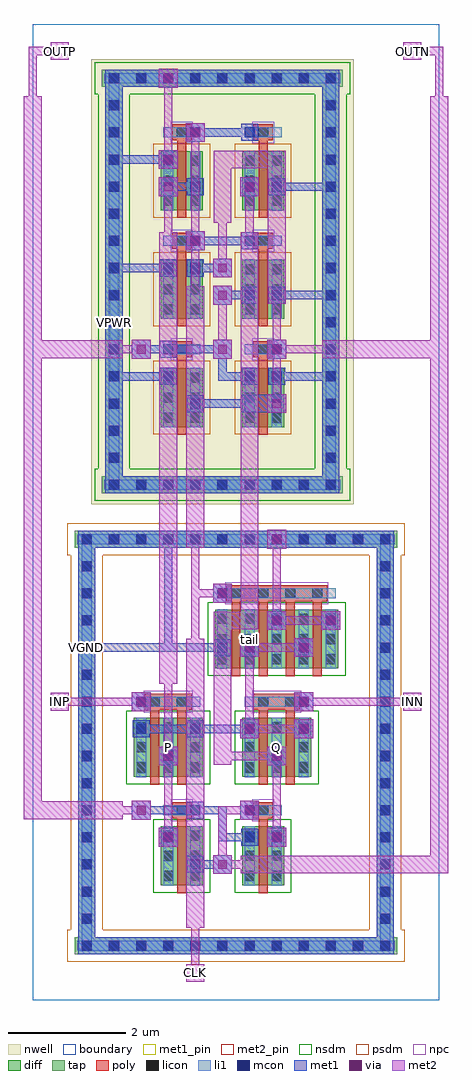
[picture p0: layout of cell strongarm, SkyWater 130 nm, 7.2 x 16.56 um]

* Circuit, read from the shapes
.subckt strongarm CLK INN INP OUTN OUTP P Q VGND VPWR tail
XM1 P INP tail VGND sky130_fd_pr__nfet_01v8 w=1 l=0.15 m=2
XM2 OUTN OUTP P VGND sky130_fd_pr__nfet_01v8 w=1 l=0.15
XM3 tail CLK VGND VGND sky130_fd_pr__nfet_01v8 w=1 l=0.15 m=4
XM4 Q OUTN OUTP VGND sky130_fd_pr__nfet_01v8 w=1 l=0.15
XM5 Q INN tail VGND sky130_fd_pr__nfet_01v8 w=1 l=0.15 m=2
XM6 OUTN OUTP VPWR VPWR sky130_fd_pr__pfet_01v8 w=1 l=0.15
XM7 OUTN CLK VPWR VPWR sky130_fd_pr__pfet_01v8 w=1 l=0.15
XM8 P CLK VPWR VPWR sky130_fd_pr__pfet_01v8 w=1 l=0.15
XM9 VPWR OUTN OUTP VPWR sky130_fd_pr__pfet_01v8 w=1 l=0.15
XM10 VPWR CLK OUTP VPWR sky130_fd_pr__pfet_01v8 w=1 l=0.15
XM11 VPWR CLK Q VPWR sky130_fd_pr__pfet_01v8 w=1 l=0.15
.ends

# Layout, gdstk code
import gdstk
lib = gdstk.Library(unit=1e-6, precision=1e-09)
def R(c, l, rs):  # rectangles x0, y0, x1, y1
    for r in rs: c.add(gdstk.rectangle(r[:2], r[2:], *l))
def A(c, l, x, y, w, h, nx, ny, dx, dy):  # array of equal rectangles
    R(c, l, [(x+i*dx, y+j*dy, x+i*dx+w, y+j*dy+h) for i in range(nx) for j in range(ny)])
nwell = (64, 20)
diff = (65, 20)
tap = (65, 44)
poly = (66, 20)
licon = (66, 44)
li1 = (67, 20)
mcon = (67, 44)
met1_pin = (68, 16)
met1 = (68, 20)
via = (68, 44)
met2_pin = (69, 16)
met2 = (69, 20)
nsdm = (93, 44)
psdm = (94, 20)
npc = (95, 20)
boundary = (235, 4)

strongarm = lib.new_cell('strongarm')
R(strongarm, nwell, [(0.995,8.415,5.445,15.965)])
A(strongarm, diff, 2.175, 9.72, 0.71, 1, 1, 3, 0, 1.84)
A(strongarm, diff, 3.555, 9.72, 0.71, 1, 1, 3, 0, 1.84)
R(strongarm, diff, [(2.175,1.945,2.885,2.945), (3.555,1.945,4.265,2.945), (1.715,3.785,2.885,4.785), (3.555,3.785,4.725,4.785), (3.095,5.625,5.185,6.625)])
R(strongarm, tap, [(0.715,0.775,6.185,1.065), (0.775,0.775,1.065,7.965), (5.835,0.775,6.125,7.965), (0.715,7.675,6.185,7.965), (1.175,8.595,5.265,8.885), (1.235,8.595,1.525,15.785), (4.915,8.595,5.205,15.785), (1.175,15.495,5.265,15.785)])
A(strongarm, poly, 3.375, 5.495, 0.15, 1.405, 4, 1, 0.46, 0)
A(strongarm, poly, 2.455, 9.59, 0.15, 1.45, 1, 3, 0, 1.84)
A(strongarm, poly, 3.835, 9.59, 0.15, 1.45, 1, 3, 0, 1.84)
A(strongarm, poly, 2.365, 10.905, 0.33, 0.27, 1, 3, 0, 1.84)
A(strongarm, poly, 3.745, 10.905, 0.33, 0.27, 1, 3, 0, 1.84)
R(strongarm, poly, [(2.455,1.815,2.605,3.22), (3.835,1.815,3.985,3.22), (2.365,3.085,2.695,3.355), (3.745,3.085,4.075,3.355), (1.995,3.655,2.145,5.06), (2.455,3.655,2.605,5.06), (3.835,3.655,3.985,5.06), (4.295,3.655,4.445,5.06), (1.905,4.925,2.695,5.195), (3.745,4.925,4.535,5.195), (3.285,6.765,4.995,7.035)])
A(strongarm, licon, 0.835, 0.835, 0.17, 0.17, 12, 2, 0.46, 6.9)
A(strongarm, licon, 0.835, 1.295, 0.17, 0.17, 1, 14, 0, 0.46)
A(strongarm, licon, 5.895, 1.295, 0.17, 0.17, 1, 14, 0, 0.46)
A(strongarm, licon, 2.215, 2.02, 0.17, 0.17, 1, 3, 0, 0.34)
A(strongarm, licon, 2.675, 2.02, 0.17, 0.17, 1, 3, 0, 0.34)
A(strongarm, licon, 3.595, 2.02, 0.17, 0.17, 1, 3, 0, 0.34)
A(strongarm, licon, 4.055, 2.02, 0.17, 0.17, 1, 3, 0, 0.34)
A(strongarm, licon, 1.755, 3.86, 0.17, 0.17, 3, 3, 0.46, 0.34)
A(strongarm, licon, 3.595, 3.86, 0.17, 0.17, 3, 3, 0.46, 0.34)
A(strongarm, licon, 3.135, 5.7, 0.17, 0.17, 5, 3, 0.46, 0.34)
A(strongarm, licon, 3.365, 6.815, 0.17, 0.17, 4, 1, 0.46, 0)
A(strongarm, licon, 1.295, 8.655, 0.17, 0.17, 9, 2, 0.46, 6.9)
A(strongarm, licon, 1.295, 9.115, 0.17, 0.17, 1, 14, 0, 0.46)
A(strongarm, licon, 4.975, 9.115, 0.17, 0.17, 1, 14, 0, 0.46)
A(strongarm, licon, 2.215, 9.795, 0.17, 0.17, 1, 3, 0, 0.34)
A(strongarm, licon, 2.675, 9.795, 0.17, 0.17, 1, 3, 0, 0.34)
A(strongarm, licon, 3.595, 9.795, 0.17, 0.17, 1, 3, 0, 0.34)
A(strongarm, licon, 4.055, 9.795, 0.17, 0.17, 1, 3, 0, 0.34)
A(strongarm, licon, 2.445, 10.955, 0.17, 0.17, 1, 3, 0, 1.84)
A(strongarm, licon, 3.825, 10.955, 0.17, 0.17, 1, 3, 0, 1.84)
A(strongarm, licon, 2.215, 11.635, 0.17, 0.17, 1, 3, 0, 0.34)
A(strongarm, licon, 2.675, 11.635, 0.17, 0.17, 1, 3, 0, 0.34)
A(strongarm, licon, 3.595, 11.635, 0.17, 0.17, 1, 3, 0, 0.34)
A(strongarm, licon, 4.055, 11.635, 0.17, 0.17, 1, 3, 0, 0.34)
A(strongarm, licon, 2.215, 13.475, 0.17, 0.17, 1, 3, 0, 0.34)
A(strongarm, licon, 2.675, 13.475, 0.17, 0.17, 1, 3, 0, 0.34)
A(strongarm, licon, 3.595, 13.475, 0.17, 0.17, 1, 3, 0, 0.34)
A(strongarm, licon, 4.055, 13.475, 0.17, 0.17, 1, 3, 0, 0.34)
R(strongarm, licon, [(2.445,3.135,2.615,3.305), (3.825,3.135,3.995,3.305), (1.985,4.975,2.155,5.145), (2.445,4.975,2.615,5.145), (3.825,4.975,3.995,5.145), (4.285,4.975,4.455,5.145)])
A(strongarm, li1, 1.755, 3.78, 0.17, 1.01, 3, 1, 0.46, 0)
A(strongarm, li1, 3.595, 3.78, 0.17, 1.01, 3, 1, 0.46, 0)
A(strongarm, li1, 3.135, 5.62, 0.17, 1.01, 5, 1, 0.46, 0)
A(strongarm, li1, 2.215, 9.715, 0.17, 1.01, 1, 3, 0, 1.84)
A(strongarm, li1, 2.675, 9.715, 0.17, 1.01, 1, 3, 0, 1.84)
A(strongarm, li1, 3.595, 9.715, 0.17, 1.01, 1, 3, 0, 1.84)
A(strongarm, li1, 4.055, 9.715, 0.17, 1.01, 1, 3, 0, 1.84)
A(strongarm, li1, 2.215, 10.955, 0.63, 0.17, 1, 3, 0, 1.84)
A(strongarm, li1, 3.595, 10.955, 0.63, 0.17, 1, 3, 0, 1.84)
R(strongarm, li1, [(0.755,0.835,6.145,1.005), (0.835,0.835,1.005,7.905), (5.895,0.835,6.065,7.905), (2.215,1.94,2.385,2.95), (2.675,1.94,2.845,2.95), (3.595,1.94,3.765,2.95), (4.055,1.94,4.225,2.95), (2.215,3.135,2.845,3.305), (3.595,3.135,4.225,3.305), (1.755,4.975,2.845,5.145), (3.595,4.975,4.685,5.145), (3.135,6.815,5.145,6.985), (0.755,7.735,6.145,7.905), (1.215,8.655,5.225,8.825), (1.295,8.655,1.465,15.725), (4.975,8.655,5.145,15.725), (1.215,15.555,5.225,15.725)])
A(strongarm, mcon, 0.835, 0.835, 0.17, 0.17, 12, 2, 0.46, 6.9)
A(strongarm, mcon, 0.835, 1.295, 0.17, 0.17, 1, 3, 0, 0.46)
A(strongarm, mcon, 5.895, 1.295, 0.17, 0.17, 1, 6, 0, 0.46)
A(strongarm, mcon, 0.835, 2.675, 0.17, 0.17, 3, 1, 1.38, 0)
A(strongarm, mcon, 0.835, 3.135, 0.17, 0.17, 1, 3, 0, 0.46)
A(strongarm, mcon, 2.215, 4.055, 0.17, 0.17, 3, 1, 1.84, 0)
A(strongarm, mcon, 0.835, 4.515, 0.17, 0.17, 5, 1, 0.92, 0)
A(strongarm, mcon, 5.895, 4.515, 0.17, 0.17, 1, 4, 0, 0.46)
A(strongarm, mcon, 0.835, 4.975, 0.17, 0.17, 1, 6, 0, 0.46)
A(strongarm, mcon, 4.055, 6.355, 0.17, 0.17, 3, 1, 0.92, 0)
A(strongarm, mcon, 1.295, 8.655, 0.17, 0.17, 9, 2, 0.46, 6.9)
A(strongarm, mcon, 1.295, 9.115, 0.17, 0.17, 1, 14, 0, 0.46)
A(strongarm, mcon, 4.975, 9.115, 0.17, 0.17, 1, 14, 0, 0.46)
A(strongarm, mcon, 3.595, 11.875, 0.17, 0.17, 1, 4, 0, 0.92)
A(strongarm, mcon, 2.675, 12.795, 0.17, 0.17, 1, 3, 0, 0.92)
R(strongarm, mcon, [(2.675,2.215,2.845,2.385), (4.055,2.675,4.225,2.845), (2.675,3.135,2.845,3.305), (3.595,3.135,3.765,3.305), (1.755,4.975,1.925,5.145), (4.515,4.975,4.685,5.145), (3.135,5.895,3.305,6.065), (3.595,5.895,3.765,6.065), (4.515,5.895,4.685,6.065), (3.135,6.815,3.305,6.985), (5.895,6.815,6.065,6.985), (5.895,7.275,6.065,7.445), (2.675,10.035,2.845,10.205), (2.215,10.495,2.385,10.665), (3.595,10.495,3.765,10.665), (4.055,10.495,4.225,10.665), (2.215,10.955,2.385,11.125), (4.055,10.955,4.225,11.125), (4.055,11.875,4.225,12.045), (2.215,12.335,2.385,12.505), (2.675,12.335,2.845,12.505), (4.055,13.715,4.225,13.885), (2.215,14.175,2.385,14.345)])
R(strongarm, met1_pin, [(0.85,5.91,0.99,6.05), (1.31,10.51,1.45,12.49)])
A(strongarm, met1, 3.52, 3.06, 0.32, 0.32, 1, 3, 0, 1.38)
A(strongarm, met1, 1.695, 4.455, 0.29, 0.29, 4, 1, 0.92, 0)
A(strongarm, met1, 1.31, 10.51, 1.06, 0.14, 1, 3, 0, 1.84)
A(strongarm, met1, 3.535, 11.815, 0.29, 0.29, 1, 4, 0, 0.92)
A(strongarm, met1, 2.615, 12.735, 0.29, 0.29, 1, 3, 0, 0.92)
R(strongarm, met1, [(0.775,0.775,6.125,1.065), (0.775,0.775,1.065,7.965), (5.835,0.775,6.125,7.965), (3.06,2.14,3.38,2.46), (2.615,2.155,2.905,2.445), (2.69,2.23,3.29,2.37), (2.14,2.6,2.46,2.92), (3.98,2.6,4.3,2.92), (2.155,2.615,2.445,2.905), (3.535,2.615,3.825,2.905), (3.995,2.615,4.285,2.905), (3.15,2.69,3.75,2.83), (3.15,2.69,3.29,3.29), (1.68,3.06,2,3.38), (2.615,3.075,2.905,3.365), (3.535,3.075,3.825,3.365), (1.77,3.15,2.83,3.29), (2.69,3.15,3.29,3.29), (2.14,3.98,2.46,4.3), (3.98,3.98,4.3,4.3), (2.155,3.995,2.445,4.285), (3.995,3.995,4.285,4.285), (4.44,4.44,4.76,4.76), (1.77,4.53,2.83,4.67), (2.69,4.53,3.75,4.67), (1.68,4.9,2,5.22), (4.44,4.9,4.76,5.22), (1.695,4.915,1.985,5.205), (4.455,4.915,4.745,5.205), (4.44,5.82,4.76,6.14), (3.075,5.835,3.365,6.125), (3.535,5.835,3.825,6.125), (4.455,5.835,4.745,6.125), (0.85,5.91,0.99,6.05), (0.85,5.91,3.29,6.05), (2.23,5.91,2.37,7.89), (3.98,6.28,4.3,6.6), (4.9,6.28,5.22,6.6), (3.995,6.295,4.285,6.585), (4.915,6.295,5.205,6.585), (3.06,6.74,3.38,7.06), (3.075,6.755,3.365,7.045), (3.98,7.66,4.3,7.98), (0.775,7.675,6.125,7.965), (2.23,7.75,4.21,7.89), (2.23,7.75,2.37,7.89), (1.235,8.595,5.205,8.885), (1.235,8.595,1.525,15.785), (4.915,8.595,5.205,15.785), (3.98,9.96,4.3,10.28), (3.53,9.97,4.29,10.27), (2.615,9.975,2.905,10.265), (2.69,10.05,3.75,10.19), (2.155,10.435,2.445,10.725), (3.535,10.435,3.825,10.725), (3.995,10.435,4.285,10.725), (1.31,10.51,1.45,12.49), (3.15,10.51,3.75,10.65), (3.15,10.51,3.29,11.11), (4.07,10.51,5.13,10.65), (4.99,10.51,5.13,10.65), (4.99,10.51,5.13,12.03), (1.68,10.88,2,11.2), (3.06,10.88,3.38,11.2), (3.98,10.88,4.3,11.2), (2.155,10.895,2.445,11.185), (3.995,10.895,4.285,11.185), (1.77,10.97,2.37,11.11), (2.23,10.97,3.29,11.11), (3.06,11.8,3.38,12.12), (3.995,11.815,4.285,12.105), (3.15,11.89,3.75,12.03), (4.07,11.89,5.13,12.03), (4.99,11.89,5.13,15.71), (3.06,12.26,3.38,12.58), (2.155,12.275,2.445,12.565), (2.615,12.275,2.905,12.565), (1.31,12.35,1.45,14.33), (2.69,12.35,3.29,12.49), (2.6,12.72,2.92,13.04), (2.69,12.81,3.75,12.95), (2.14,13.64,2.46,13.96), (3.52,13.64,3.84,13.96), (3.995,13.655,4.285,13.945), (2.23,13.73,2.83,13.87), (4.07,13.73,5.13,13.87), (2.14,14.1,2.46,14.42), (2.155,14.115,2.445,14.405), (2.6,14.56,2.92,14.88), (2.69,14.65,3.75,14.79), (2.14,15.48,2.46,15.8), (1.235,15.495,5.205,15.785), (2.23,15.57,5.13,15.71), (4.99,15.57,5.13,15.71)])
A(strongarm, via, 3.605, 3.145, 0.15, 0.15, 1, 3, 0, 1.38)
R(strongarm, via, [(3.145,2.225,3.295,2.375), (2.225,2.685,2.375,2.835), (4.065,2.685,4.215,2.835), (1.765,3.145,1.915,3.295), (2.225,4.065,2.375,4.215), (4.065,4.065,4.215,4.215), (4.525,4.525,4.675,4.675), (1.765,4.985,1.915,5.135), (4.525,4.985,4.675,5.135), (4.525,5.905,4.675,6.055), (4.065,6.365,4.215,6.515), (4.985,6.365,5.135,6.515), (3.145,6.825,3.295,6.975), (4.065,7.745,4.215,7.895), (4.065,10.045,4.215,10.195), (1.765,10.965,1.915,11.115), (3.145,10.965,3.295,11.115), (4.065,10.965,4.215,11.115), (3.145,11.885,3.295,12.035), (3.145,12.345,3.295,12.495), (2.685,12.805,2.835,12.955), (2.225,13.725,2.375,13.875), (3.605,13.725,3.755,13.875), (2.225,14.185,2.375,14.335), (2.685,14.645,2.835,14.795), (2.225,15.565,2.375,15.715)])
R(strongarm, met2_pin, [(2.61,0.31,2.91,0.61), (0.31,4.91,0.61,5.21), (6.29,4.91,6.59,5.21), (0.31,15.95,0.61,16.25), (6.29,15.95,6.59,16.25)])
A(strongarm, met2, 3.52, 3.06, 0.32, 0.32, 1, 3, 0, 1.38)
R(strongarm, met2, [(2.61,0.31,2.91,0.61), (2.69,0.39,2.83,1.45), (2.69,0.39,2.83,0.53), (2.61,1.23,2.91,6.13), (3.06,2.14,3.38,2.46), (3.53,2.15,7.05,2.45), (6.75,2.15,7.05,15.33), (3.15,2.23,3.29,3.29), (3.15,2.23,3.75,2.37), (2.14,2.6,2.46,2.92), (3.98,2.6,4.3,2.92), (2.23,2.69,2.37,4.21), (4.07,2.69,4.21,4.21), (1.68,3.06,2,3.38), (-0.15,3.07,1.53,3.37), (-0.15,3.07,0.15,15.33), (1.31,3.15,1.91,3.29), (3.15,3.15,3.75,3.29), (2.14,3.98,2.46,4.3), (3.98,3.98,4.3,4.3), (3.07,3.99,3.37,6.59), (2.23,4.07,2.37,5.59), (3.15,4.07,4.21,4.21), (4.44,4.44,4.76,4.76), (3.61,4.53,3.75,6.05), (3.61,4.53,4.67,4.67), (1.68,4.9,2,5.22), (4.44,4.9,4.76,5.22), (0.31,4.91,0.61,5.21), (6.29,4.91,6.59,5.21), (0.39,4.99,0.53,5.13), (0.39,4.99,1.91,5.13), (4.53,4.99,6.51,5.13), (6.37,4.99,6.51,5.13), (2.15,5.37,2.45,13.03), (4.44,5.82,4.76,6.14), (2.69,5.91,2.83,6.97), (3.61,5.91,4.67,6.05), (3.98,6.28,4.3,6.6), (4.9,6.28,5.22,6.6), (3.07,6.29,3.83,6.59), (3.53,6.29,3.83,13.03), (4.07,6.37,4.21,7.89), (4.07,6.37,5.13,6.51), (3.06,6.74,3.38,7.06), (2.69,6.83,2.83,7.89), (2.69,6.83,3.29,6.97), (3.98,7.66,4.3,7.98), (2.61,7.67,2.91,12.11), (3.98,9.96,4.3,10.28), (4.07,10.05,4.21,11.11), (1.68,10.88,2,11.2), (3.06,10.88,3.38,11.2), (3.98,10.88,4.3,11.2), (-0.15,10.89,1.53,11.19), (4.91,10.89,7.05,11.19), (1.31,10.97,1.91,11.11), (3.15,10.97,3.29,12.03), (4.07,10.97,4.21,12.03), (4.07,10.97,5.13,11.11), (3.06,11.8,3.38,12.12), (3.99,11.81,4.29,14.41), (2.69,11.89,2.83,12.95), (3.06,12.26,3.38,12.58), (3.15,12.35,3.29,13.41), (2.6,12.72,2.92,13.04), (2.23,12.81,2.37,13.87), (2.69,12.81,2.83,14.79), (3.61,12.81,3.75,13.87), (3.07,13.19,3.37,14.41), (2.14,13.64,2.46,13.96), (3.52,13.64,3.84,13.96), (2.14,14.1,2.46,14.42), (3.07,14.11,4.29,14.41), (2.23,14.19,2.37,15.71), (2.6,14.56,2.92,14.88), (-0.07,15.11,0.07,16.17), (6.83,15.11,6.97,16.17), (2.14,15.48,2.46,15.8), (0.31,15.95,0.61,16.25), (6.29,15.95,6.59,16.25), (-0.07,16.03,0.53,16.17), (0.39,16.03,0.53,16.17), (6.37,16.03,6.97,16.17), (6.37,16.03,6.51,16.17)])
R(strongarm, nsdm, [(2.05,1.82,3.01,3.07), (3.43,1.82,4.39,3.07), (1.59,3.66,3.01,4.91), (3.43,3.66,4.85,4.91), (2.97,5.5,5.31,6.75), (1.05,8.47,5.39,9.01), (1.11,9.01,1.65,15.37), (4.79,9.01,5.33,15.37), (1.05,15.37,5.39,15.91)])
A(strongarm, psdm, 2.05, 9.595, 0.96, 1.25, 1, 3, 0, 1.84)
A(strongarm, psdm, 3.43, 9.595, 0.96, 1.25, 1, 3, 0, 1.84)
R(strongarm, psdm, [(0.59,0.65,6.31,1.19), (0.65,1.19,1.19,7.55), (5.71,1.19,6.25,7.55), (0.59,7.55,6.31,8.09)])
A(strongarm, npc, 2.345, 10.855, 0.37, 0.37, 1, 3, 0, 1.84)
A(strongarm, npc, 3.725, 10.855, 0.37, 0.37, 1, 3, 0, 1.84)
R(strongarm, npc, [(2.345,3.035,2.715,3.405), (3.725,3.035,4.095,3.405), (1.885,4.875,2.715,5.245), (3.725,4.875,4.555,5.245), (3.265,6.715,5.015,7.085)])
R(strongarm, boundary, [(0,0,6.9,16.56)])
strongarm.add(gdstk.Label('tail', (3.68,6.125), layer=67, texttype=5))
strongarm.add(gdstk.Label('P', (2.3,4.285), layer=67, texttype=5))
strongarm.add(gdstk.Label('Q', (4.14,4.285), layer=67, texttype=5))
strongarm.add(gdstk.Label('VPWR', (1.38,11.5), layer=68, texttype=5))
strongarm.add(gdstk.Label('VGND', (0.92,5.98), layer=68, texttype=5))
strongarm.add(gdstk.Label('CLK', (2.76,0.46), layer=69, texttype=5))
strongarm.add(gdstk.Label('INP', (0.46,5.06), layer=69, texttype=5))
strongarm.add(gdstk.Label('INN', (6.44,5.06), layer=69, texttype=5))
strongarm.add(gdstk.Label('OUTP', (0.46,16.1), layer=69, texttype=5))
strongarm.add(gdstk.Label('OUTN', (6.44,16.1), layer=69, texttype=5))
strongarm.add(gdstk.Label('VPWR', (1.38,11.5), layer=68, texttype=16))
strongarm.add(gdstk.Label('VGND', (0.92,5.98), layer=68, texttype=16))
strongarm.add(gdstk.Label('CLK', (2.76,0.46), layer=69, texttype=16))
strongarm.add(gdstk.Label('INP', (0.46,5.06), layer=69, texttype=16))
strongarm.add(gdstk.Label('INN', (6.44,5.06), layer=69, texttype=16))
strongarm.add(gdstk.Label('OUTP', (0.46,16.1), layer=69, texttype=16))
strongarm.add(gdstk.Label('OUTN', (6.44,16.1), layer=69, texttype=16))

lib.write_gds('strongarm.gds')
